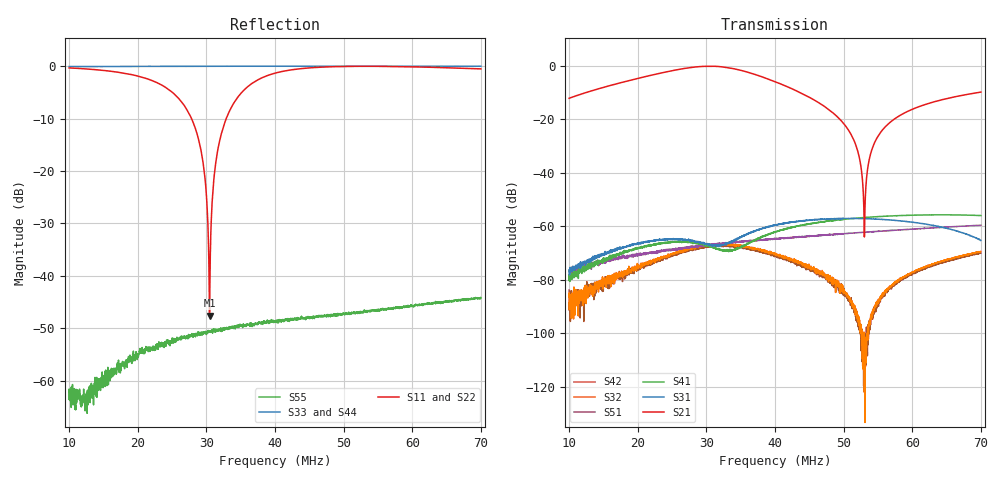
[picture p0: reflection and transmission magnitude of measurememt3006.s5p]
#  HZ  S  RI  R  50.00
! Rohde & Schwarz ZVT8 8Ports - Version 4.11 - 1300.0000k08 SN: 100242
! Date: 2026-07-06 11:31:20
! Measurements: S11 S12 S13 S14 S15 S21 S22 S23 S24 S25 S31 S32 S33 S34 S35 S41 S42 S43 S44 S45 S51 S52 S53 S54 S55
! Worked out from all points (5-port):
!   3001 points, 10 MHz to 70 MHz, reference 50 ohm
!   strongest paths, dB at 10 MHz, 25 MHz, 40 MHz, 55 MHz, 70 MHz:
!     S21: -12.1, -1.7, -5.8, -26.3, -9.7
!     S31: -76.3, -64.7, -59.6, -57.3, -65.3
!     S41: -78.0, -66.0, -62.0, -56.4, -56.0
!     S51: -77.1, -68.8, -64.8, -61.9, -59.6
!     S32: -86.6, -70.5, -70.4, -87.9, -69.4
!     S42: -83.8, -70.9, -70.9, -88.5, -70.1
!   lowest |S11| = -47.6 dB at 30.46 MHz (marker M1), VSWR 1.01, Z = 50.4 + j0.208 ohm
!   |S11| at or under -10 dB: 27.83 MHz to 32.9 MHz (5.064 MHz wide, 16.7 % of centre)
